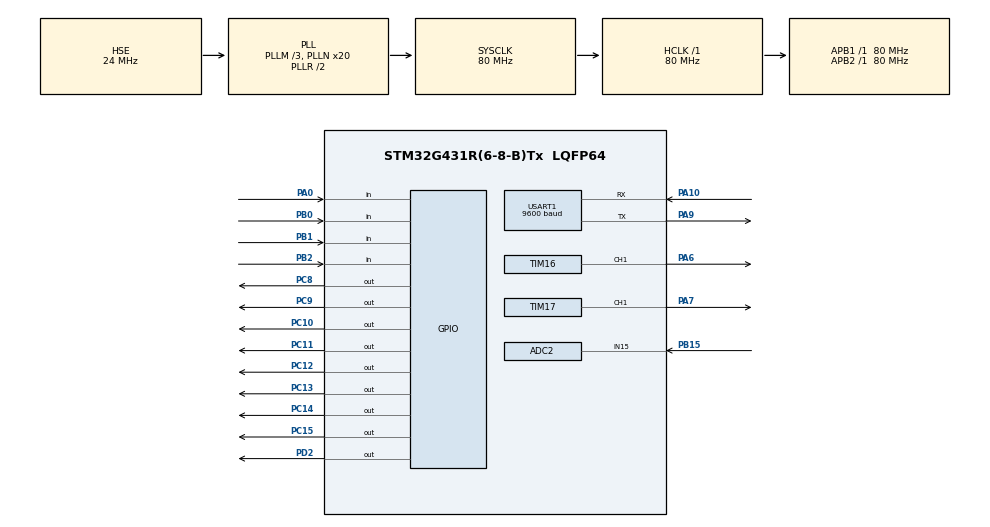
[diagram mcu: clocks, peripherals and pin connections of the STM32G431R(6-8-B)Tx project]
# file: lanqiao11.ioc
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ADC2.Channel-0\#ChannelRegularConversion=ADC_CHANNEL_15
ADC2.NbrOfConversionFlag=1
ADC2.OffsetNumber-0\#ChannelRegularConversion=ADC_OFFSET_NONE
ADC2.Rank-0\#ChannelRegularConversion=1
ADC2.SamplingTime-0\#ChannelRegularConversion=ADC_SAMPLETIME_2CYCLES_5
Mcu.Family=STM32G4
Mcu.Name=STM32G431R(6-8-B)Tx
Mcu.Package=LQFP64
NVIC.PriorityGroup=NVIC_PRIORITYGROUP_4
NVIC.TIM3_IRQn=true\:0\:0\:false\:false\:true\:true\:true\:true
NVIC.USART1_IRQn=true\:0\:0\:false\:false\:true\:true\:true\:true
PA0.GPIO_PuPd=GPIO_PULLUP
PA0.Signal=GPIO_Input
PA10.Mode=Asynchronous
PA10.Signal=USART1_RX
PA13.Mode=Serial_Wire
PA13.Signal=SYS_JTMS-SWDIO
PA14.Mode=Serial_Wire
PA14.Signal=SYS_JTCK-SWCLK
PA6.Signal=S_TIM16_CH1
PA7.Signal=S_TIM17_CH1
PA9.Mode=Asynchronous
PA9.Signal=USART1_TX
PB0.GPIO_PuPd=GPIO_PULLUP
PB0.Signal=GPIO_Input
PB1.GPIO_PuPd=GPIO_PULLUP
PB1.Signal=GPIO_Input
PB15.Mode=IN15-Single-Ended
PB15.Signal=ADC2_IN15
PB2.GPIO_PuPd=GPIO_PULLUP
PB2.Signal=GPIO_Input
PC10.Signal=GPIO_Output
PC11.Signal=GPIO_Output
PC12.Signal=GPIO_Output
PC13.Signal=GPIO_Output
PC14-OSC32_IN.Signal=GPIO_Output
PC15-OSC32_OUT.Signal=GPIO_Output
PC8.Signal=GPIO_Output
PC9.Signal=GPIO_Output
PD2.GPIO_PuPd=GPIO_PULLUP
PD2.Signal=GPIO_Output
PF0-OSC_IN.Mode=HSE-External-Oscillator
PF0-OSC_IN.Signal=RCC_OSC_IN
PF1-OSC_OUT.Mode=HSE-External-Oscillator
PF1-OSC_OUT.Signal=RCC_OSC_OUT
ProjectManager.HeapSize=0x200
ProjectManager.StackSize=0x400
ProjectManager.TargetToolchain=MDK-ARM V5.32
RCC.ADC12Freq_Value=80000000
RCC.AHBFreq_Value=80000000
RCC.APB1Freq_Value=80000000
RCC.APB1TimFreq_Value=80000000
RCC.APB2Freq_Value=80000000
RCC.APB2TimFreq_Value=80000000
RCC.CortexFreq_Value=80000000
RCC.EXTERNAL_CLOCK_VALUE=12288000
RCC.HCLKFreq_Value=80000000
RCC.HSE_VALUE=24000000
RCC.HSI48_VALUE=48000000
RCC.HSI_VALUE=16000000
RCC.LSE_VALUE=32768
RCC.PLLM=RCC_PLLM_DIV3
RCC.PLLN=20
RCC.PLLSourceVirtual=RCC_PLLSOURCE_HSE
RCC.SYSCLKFreq_VALUE=80000000
RCC.SYSCLKSource=RCC_SYSCLKSOURCE_PLLCLK
RCC.USBFreq_Value=80000000
RCC.VCOOutputFreq_Value=160000000
SH.S_TIM16_CH1.0=TIM16_CH1,PWM Generation1 CH1
SH.S_TIM17_CH1.0=TIM17_CH1,PWM Generation1 CH1
TIM16.Channel=TIM_CHANNEL_1
TIM16.PeriodNoDither=100-1
TIM16.Prescaler=8000-1
TIM16.PulseNoDither_1=10
TIM17.Channel=TIM_CHANNEL_1
TIM17.PeriodNoDither=100-1
TIM17.Prescaler=4000-1
TIM17.PulseNoDither_1=10
TIM3.PeriodNoDither=10000-1
TIM3.Prescaler=80-1
USART1.BaudRate=9600
USART1.VirtualMode-Asynchronous=VM_ASYNC
VP_SYS_VS_DBSignals.Mode=DisableDeadBatterySignals
VP_TIM16_VS_ClockSourceINT.Mode=Enable_Timer
VP_TIM17_VS_ClockSourceINT.Mode=Enable_Timer
VP_TIM3_VS_ClockSourceINT.Mode=Internal
board=custom

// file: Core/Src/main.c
/* USER CODE BEGIN Header */
/**
  ******************************************************************************
  * @file           : main.c
  * @brief          : Main program body
  ******************************************************************************
  * @attention
  *
  * Copyright (c) 2024 STMicroelectronics.
  * All rights reserved.
  *
  * This software is licensed under terms that can be found in the LICENSE file
  * in the root directory of this software component.
  * If no LICENSE file comes with this software, it is provided AS-IS.
  *
  ******************************************************************************
  */
/* USER CODE END Header */
#include "main.h"
#include "adc.h"
#include "tim.h"
#include "usart.h"
#include "gpio.h"

/* USER CODE BEGIN Includes */
#include "lcd.h"
#include "string.h"
#include "stdio.h"
#include "stdlib.h"
#include "interrupt.h"
#include "badc.h"
/* USER CODE END Includes */

/* USER CODE BEGIN PD */
uint8_t view=0;
uint8_t Mode=0;
uint8_t PA6 = 10;
uint8_t PA7 = 10;
extern struct keys key[4];
uint8_t LD1=0;
uint8_t LD2=0;
/* USER CODE END PD */

void SystemClock_Config(void);
/* USER CODE BEGIN PFP */
void view_pro(void);
void key_control(void);
void led_control(void);
void duty(void);
/* USER CODE END PFP */

int main(void)
{

  /* MCU Configuration--------------------------------------------------------*/

  /* Reset of all peripherals, Initializes the Flash interface and the Systick. */
  HAL_Init();

  /* Configure the system clock */
  SystemClock_Config();

  /* Initialize all configured peripherals */
  MX_GPIO_Init();
  MX_USART1_UART_Init();
  MX_TIM3_Init();
  MX_TIM16_Init();
  MX_TIM17_Init();
  MX_ADC2_Init();
  /* USER CODE BEGIN 2 */
	LCD_Init();
	LCD_Clear(Black);
	LCD_SetTextColor(White);
	LCD_SetBackColor(Black);
	HAL_TIM_Base_Start_IT(&htim3);
	HAL_TIM_PWM_Start(&htim16 , TIM_CHANNEL_1);
	HAL_TIM_PWM_Start(&htim17 , TIM_CHANNEL_1);
  /* USER CODE END 2 */

  /* Infinite loop */
  while (1)
  {

    /* USER CODE BEGIN 3 */
		view_pro();
		key_control();
		led_control();
		duty();
  }
  /* USER CODE END 3 */
}

void SystemClock_Config(void)
{
  RCC_OscInitTypeDef RCC_OscInitStruct = {0};
  RCC_ClkInitTypeDef RCC_ClkInitStruct = {0};

  /** Configure the main internal regulator output voltage
  */
  HAL_PWREx_ControlVoltageScaling(PWR_REGULATOR_VOLTAGE_SCALE1);

  /** Initializes the RCC Oscillators according to the specified parameters
  * in the RCC_OscInitTypeDef structure.
  */
  RCC_OscInitStruct.OscillatorType = RCC_OSCILLATORTYPE_HSE;
  RCC_OscInitStruct.HSEState = RCC_HSE_ON;
  RCC_OscInitStruct.PLL.PLLState = RCC_PLL_ON;
  RCC_OscInitStruct.PLL.PLLSource = RCC_PLLSOURCE_HSE;
  RCC_OscInitStruct.PLL.PLLM = RCC_PLLM_DIV3;
  RCC_OscInitStruct.PLL.PLLN = 20;
  RCC_OscInitStruct.PLL.PLLP = RCC_PLLP_DIV2;
  RCC_OscInitStruct.PLL.PLLQ = RCC_PLLQ_DIV2;
  RCC_OscInitStruct.PLL.PLLR = RCC_PLLR_DIV2;
  if (HAL_RCC_OscConfig(&RCC_OscInitStruct) != HAL_OK)
  {
    Error_Handler();
  }

  /** Initializes the CPU, AHB and APB buses clocks
  */
  RCC_ClkInitStruct.ClockType = RCC_CLOCKTYPE_HCLK|RCC_CLOCKTYPE_SYSCLK
                              |RCC_CLOCKTYPE_PCLK1|RCC_CLOCKTYPE_PCLK2;
  RCC_ClkInitStruct.SYSCLKSource = RCC_SYSCLKSOURCE_PLLCLK;
  RCC_ClkInitStruct.AHBCLKDivider = RCC_SYSCLK_DIV1;
  RCC_ClkInitStruct.APB1CLKDivider = RCC_HCLK_DIV1;
  RCC_ClkInitStruct.APB2CLKDivider = RCC_HCLK_DIV1;

  if (HAL_RCC_ClockConfig(&RCC_ClkInitStruct, FLASH_LATENCY_2) != HAL_OK)
  {
    Error_Handler();
  }
}

/* USER CODE BEGIN 4 */
void view_pro()
{
	if(view == 0)
	{
		LD2 = 1;
		if(Mode == 0)
		{
			LD1 = 1;
			LCD_DisplayStringLine(Line0 , (uint8_t *)"      Data          ");
			char text[30];
			sprintf(text , "    V:%.2fV         ",getADC(&hadc2));
			LCD_DisplayStringLine(Line2 , (uint8_t *)text);
			LCD_DisplayStringLine(Line4 , (uint8_t *)"    Mode:AUTO       ");
		}else if(Mode == 1)
		{
			LD1 = 0;
			LCD_DisplayStringLine(Line0 , (uint8_t *)"      Data          ");
			char text[30];
			sprintf(text , "    V:%.2fV         ",getADC(&hadc2));
			LCD_DisplayStringLine(Line2 , (uint8_t *)text);
			LCD_DisplayStringLine(Line4 , (uint8_t *)"    Mode:MANU       ");
		}
	}
	if(view == 1)
	{
		LD2 = 0;
		LCD_DisplayStringLine(Line0 , "      Para          ");
		char text[30];
		sprintf(text , "    PA6:%d%%         ",PA6);
		LCD_DisplayStringLine(Line2 , (uint8_t *)text);
		sprintf(text , "    PA7:%d%%         ",PA7);
		LCD_DisplayStringLine(Line4 , (uint8_t *)text);
	}
}

void key_control()
{
	if(key[0].single_flag == 1)
	{
		key[0].single_flag = 0;
		view+=1;
		if(view>1)
		{
			view = 0;
		}
	}

	if(key[1].single_flag == 1)
	{
		key[1].single_flag = 0;
		if(view == 1)
		{
			PA6+=10;
			if(PA6>90)
				PA6 = 10;
			__HAL_TIM_SET_COMPARE(&htim16 , TIM_CHANNEL_1 , PA6);
		}
	}

	if(key[2].single_flag == 1)
	{
		key[2].single_flag = 0;
		if(view == 1)
		{
			PA7+=10;
			if(PA7>90)
				PA7 = 10;
			__HAL_TIM_SET_COMPARE(&htim17 , TIM_CHANNEL_1 , PA7);
		}
	}

	if(key[3].single_flag == 1)
	{
		key[3].single_flag = 0;
		if(view == 0)
		{
			Mode+=1;
			if(Mode>1)
				Mode = 0;
		}
	}

}

void led_control()
{
	HAL_GPIO_WritePin(GPIOC , GPIO_PIN_8|GPIO_PIN_9|GPIO_PIN_10|GPIO_PIN_11|GPIO_PIN_12|GPIO_PIN_13|GPIO_PIN_14|GPIO_PIN_15 ,GPIO_PIN_SET);
	HAL_GPIO_WritePin(GPIOD , GPIO_PIN_2 , GPIO_PIN_SET);
	HAL_GPIO_WritePin(GPIOD , GPIO_PIN_2 , GPIO_PIN_RESET);
	if(LD1 == 1)
	{
		HAL_GPIO_WritePin(GPIOC , GPIO_PIN_8 , GPIO_PIN_RESET);
		HAL_GPIO_WritePin(GPIOD , GPIO_PIN_2 , GPIO_PIN_SET);
		HAL_GPIO_WritePin(GPIOD , GPIO_PIN_2 , GPIO_PIN_RESET);
	}else if(LD1 == 0)
	{
		HAL_GPIO_WritePin(GPIOC , GPIO_PIN_8 , GPIO_PIN_SET);
		HAL_GPIO_WritePin(GPIOD , GPIO_PIN_2 , GPIO_PIN_SET);
		HAL_GPIO_WritePin(GPIOD , GPIO_PIN_2 , GPIO_PIN_RESET);
	}

	if(LD2 == 1)
	{
		HAL_GPIO_WritePin(GPIOC , GPIO_PIN_9 , GPIO_PIN_RESET);
		HAL_GPIO_WritePin(GPIOD , GPIO_PIN_2 , GPIO_PIN_SET);
		HAL_GPIO_WritePin(GPIOD , GPIO_PIN_2 , GPIO_PIN_RESET);
	}else if(LD2 == 0)
	{
		HAL_GPIO_WritePin(GPIOC , GPIO_PIN_9 , GPIO_PIN_SET);
		HAL_GPIO_WritePin(GPIOD , GPIO_PIN_2 , GPIO_PIN_SET);
		HAL_GPIO_WritePin(GPIOD , GPIO_PIN_2 , GPIO_PIN_RESET);
	}

}
void duty()
{
	if(view == 0 && Mode == 0)
	{
		__HAL_TIM_SET_COMPARE(&htim16 , TIM_CHANNEL_1 , 100*getADC(&hadc2)/3.3);
		__HAL_TIM_SET_COMPARE(&htim17 , TIM_CHANNEL_1 , 100*getADC(&hadc2)/3.3);
	}

}
/* USER CODE END 4 */

void Error_Handler(void)
{
  __disable_irq();
  while (1)
  {
  }
}
